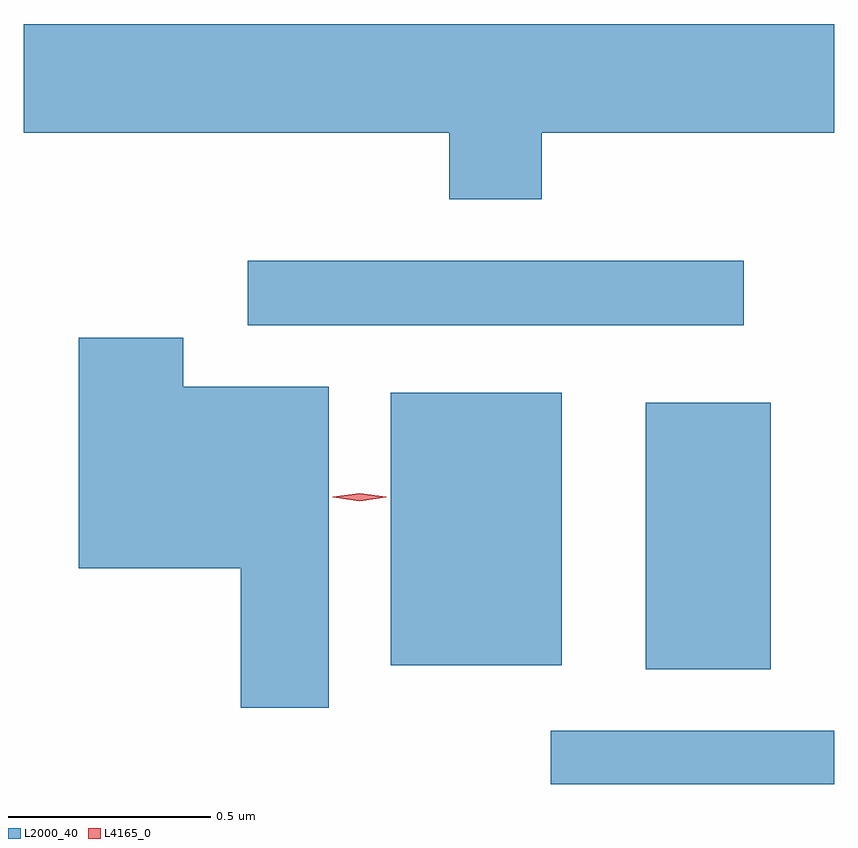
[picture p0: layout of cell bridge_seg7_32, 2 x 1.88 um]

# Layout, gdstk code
import gdstk
lib = gdstk.Library(unit=1e-6, precision=1e-09)
def R(c, l, rs):  # rectangles x0, y0, x1, y1
    for r in rs: c.add(gdstk.rectangle(r[:2], r[2:], *l))
def P(c, l, *ps):  # polygons
    for p in ps: c.add(gdstk.Polygon(p, *l))
L2000_40 = (2000, 40)
L4165_0 = (4165, 0)

bridge_seg7_32 = lib.new_cell('bridge_seg7_32')
R(bridge_seg7_32, L2000_40, [(1779.311,1777.088,1780.011,1777.219), (1779.546,1777.371,1779.854,1778.029), (1778.916,1777.381,1779.339,1778.054), (1778.563,1778.221,1779.788,1778.379)])
P(bridge_seg7_32, L2000_40, [(1779.289,1778.696),(1780.011,1778.696),(1780.011,1778.964),(1778.011,1778.964),(1778.011,1778.696),(1779.061,1778.696),(1779.061,1778.531),(1779.289,1778.531)],
  [(1778.764,1778.069),(1778.404,1778.069),(1778.404,1778.189),(1778.146,1778.189),(1778.146,1777.621),(1778.546,1777.621),(1778.546,1777.276),(1778.764,1777.276)])
P(bridge_seg7_32, L4165_0, [(1778.84,1777.786),(1778.773,1777.796),(1778.773,1777.796),(1778.773,1777.797),(1778.84,1777.806),(1778.906,1777.797),(1778.906,1777.796),(1778.906,1777.796)])

lib.write_gds('bridge_seg7_32.gds')
